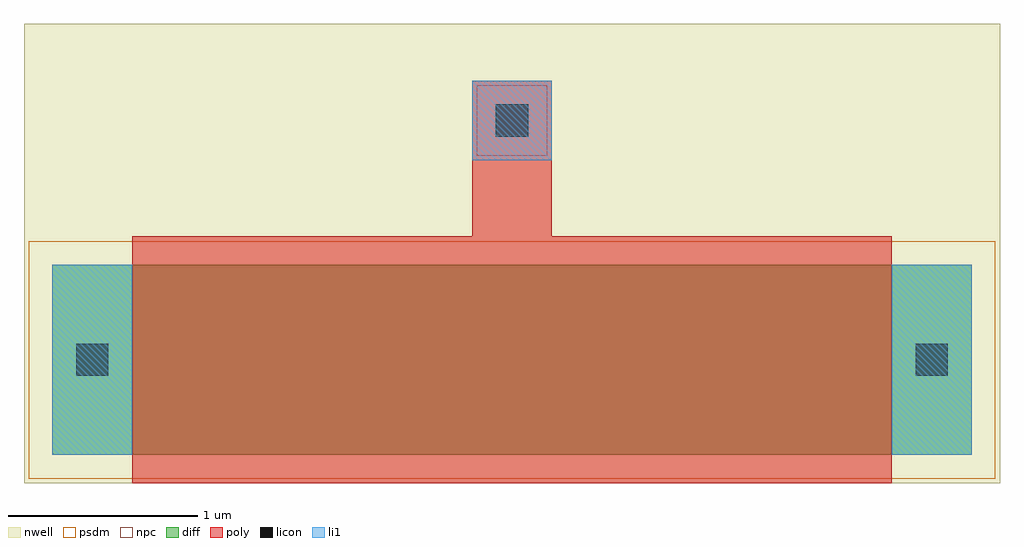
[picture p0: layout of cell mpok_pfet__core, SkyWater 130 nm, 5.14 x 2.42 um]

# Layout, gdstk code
import gdstk
lib = gdstk.Library(unit=1e-6, precision=1e-09)
def R(c, l, rs):  # rectangles x0, y0, x1, y1
    for r in rs: c.add(gdstk.rectangle(r[:2], r[2:], *l))
nwell = (64, 20)
diff = (65, 20)
poly = (66, 20)
licon = (66, 44)
li1 = (67, 20)
psdm = (94, 20)
npc = (95, 20)

mpok_pfet__core = lib.new_cell('mpok_pfet__core')
R(mpok_pfet__core, nwell, [(-0.15,-0.15,4.99,2.27)])
R(mpok_pfet__core, diff, [(0,0,4.84,1)])
R(mpok_pfet__core, poly, [(0.42,-0.15,4.42,1), (0.42,1,4.42,1.15), (0.42,1,4.42,1.15), (2.21,1.15,2.63,1.97)])
R(mpok_pfet__core, licon, [(0.125,0.415,0.295,0.585), (4.545,0.415,4.715,0.585), (2.335,1.675,2.505,1.845)])
R(mpok_pfet__core, li1, [(0,0,0.42,1), (4.42,0,4.84,1), (2.21,1.55,2.63,1.97)])
R(mpok_pfet__core, psdm, [(-0.125,-0.125,4.965,1.125)])
R(mpok_pfet__core, npc, [(2.235,1.575,2.605,1.945)])

lib.write_gds('mpok_pfet__core.gds')
